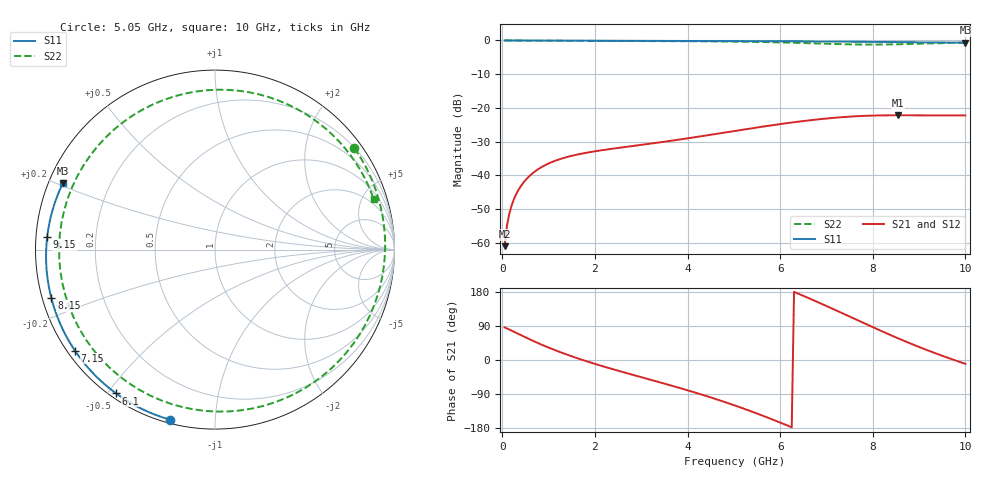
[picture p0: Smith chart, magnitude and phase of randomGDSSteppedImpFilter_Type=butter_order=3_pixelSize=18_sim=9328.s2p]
! freq	dB(S11)	phase(S11)	dB(S12)	phase(S12)
!  dB(S21)	phase(S21)	dB(S22)	phase(S22)
!S-par simulation data
#  GHz  S  DB  R 50
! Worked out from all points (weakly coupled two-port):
!   200 points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, 50 MHz to 10 GHz, reference 50 ohm
!   highest |S21| = -22.19 dB at 8.55 GHz (marker M1); lowest = -61.0 dB at 50 MHz (marker M2)
!   lowest |S11| = -0.7 dB at 10 GHz (marker M3), VSWR 25.57, Z = 2.04 + j10.4 ohm
!   |S11| at or under -10 dB: nowhere
!   |S22| runs from -1.2 to 0.0 dB; largest |S21 - S12| = 0
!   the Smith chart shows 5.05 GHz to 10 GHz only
!   S11 on the Smith chart (normalised r, x): 5.05 GHz: 0.02, -0.77; 6.1 GHz: 0.02, -0.53; 7.15 GHz: 0.02, -0.32; 8.15 GHz: 0.03, -0.15; 9.15 GHz: 0.03, +0.04; 10 GHz: 0.04, +0.21
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0.05  -0.00 -1.1  -61.03 85.9  -61.03 85.9  -0.00 -5.1
0.15  -0.00 -3.4  -51.47 80.5  -51.47 80.5  -0.02 -15.2
0.3  -0.01 -6.7  -45.59 71.6  -45.59 71.6  -0.05 -30.0
0.6  -0.02 -13.3  -40.04 54.0  -40.04 54.0  -0.08 -58.4
0.85  -0.02 -18.8  -37.55 40.4  -37.55 40.4  -0.09 -80.3
1.25  -0.04 -27.6  -35.18 20.8  -35.18 20.8  -0.12 -111.4
1.75  -0.05 -38.4  -33.48 -0.6  -33.48 -0.6  -0.13 -144.7
2.5  -0.07 -54.2  -31.88 -28.3  -31.88 -28.3  -0.15 173.0
3.4  -0.10 -72.6  -30.23 -58.9  -30.23 -58.9  -0.19 126.8
4.25  -0.13 -89.4  -28.52 -89.1  -28.52 -89.1  -0.25 82.3
5.05  -0.17 -104.8  -26.78 -121.2  -26.78 -121.2  -0.35 36.1
5.6  -0.21 -115.1  -25.61 -145.8  -25.61 -145.8  -0.46 0.8
6.1  -0.24 -124.5  -24.62 -170.0  -24.62 -170.0  -0.61 -34.3
6.7  -0.29 -135.7  -23.58 158.8  -23.58 158.8  -0.85 -80.7
7.15  -0.33 -144.2  -22.96 134.2  -22.96 134.2  -1.04 -118.5
7.65  -0.38 -153.7  -22.48 106.2  -22.48 106.2  -1.19 -163.0
8.15  -0.44 -163.5  -22.24 78.4  -22.24 78.4  -1.22 151.8
8.35  -0.46 -167.5  -22.20 67.6  -22.20 67.6  -1.18 134.2
8.55  -0.48 -171.5  -22.19 57.0  -22.19 57.0  -1.13 117.1
9.15  -0.56 175.8  -22.24 27.1  -22.24 27.1  -0.91 70.6
9.6  -0.62 165.8  -22.24 6.8  -22.24 6.8  -0.75 40.7
10  -0.68 156.5  -22.27 -10.1  -22.27 -10.1  -0.65 17.7
